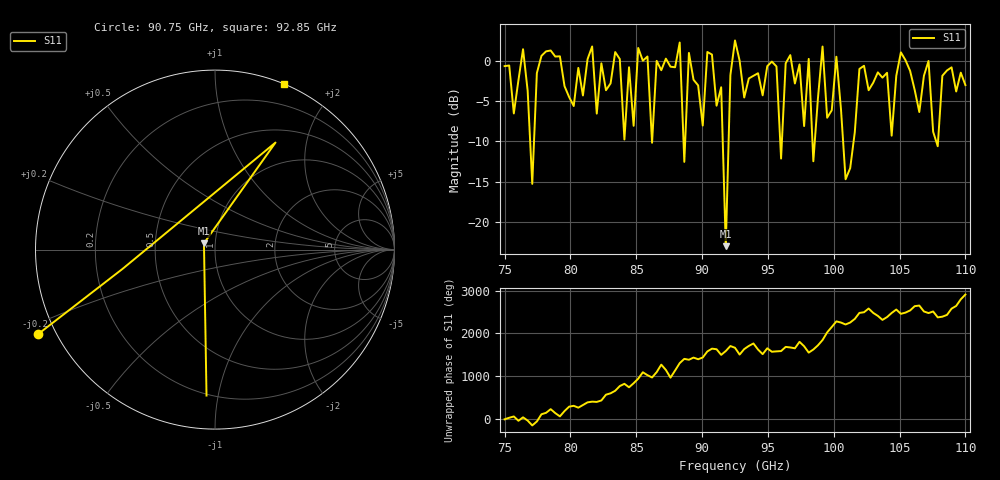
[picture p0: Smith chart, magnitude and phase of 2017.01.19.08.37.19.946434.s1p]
!Created with skrf (http://scikit-rf.org).
# GHz S RI R 50.0
!freq ReS11 ImS11
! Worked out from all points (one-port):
!   101 points, 75 GHz to 110 GHz, reference 50 ohm
!   lowest |S11| = -23.0 dB at 91.8 GHz (marker M1), VSWR 1.15, Z = 44.1 + j3.13 ohm
!   |S11| at or under -10 dB: 76.94063 GHz to 77.23409 GHz (293.5 MHz wide, 0.381 % of centre); 86.19451 GHz to 86.20578 GHz (11.27 MHz wide, 0.0131 % of centre); 100.7 GHz to 101.5 GHz (798.8 MHz wide, 0.79 % of centre) (the widest 3 of 8)
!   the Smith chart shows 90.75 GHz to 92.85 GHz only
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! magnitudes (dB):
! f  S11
! 75 GHz  -0.7
! 76.4 GHz  1.4
! 77.1 GHz  -15.3
! 77.8 GHz  0.6
! 79.55 GHz  -3.1
! 83.75 GHz  0.2
! 84.1 GHz  -9.8
! 85.85 GHz  0.5
! 86.2 GHz  -10.2
! 88.3 GHz  2.3
! 88.65 GHz  -12.5
! 89 GHz  1.0
! 91.45 GHz  -3.3
! 91.8 GHz  -23.0
! 92.5 GHz  2.5
! 95.65 GHz  -0.7
! 96 GHz  -12.1
! 96.35 GHz  -0.3
! 97.05 GHz  -2.8
! 98.1 GHz  0.2
! 98.45 GHz  -12.5
! 99.15 GHz  1.8
! 100.2 GHz  0.5
! 101.2 GHz  -13.3
! 102 GHz  -1.0
! 105.8 GHz  -1.3
! 107.9 GHz  -10.6
! 110 GHz  -3.0
